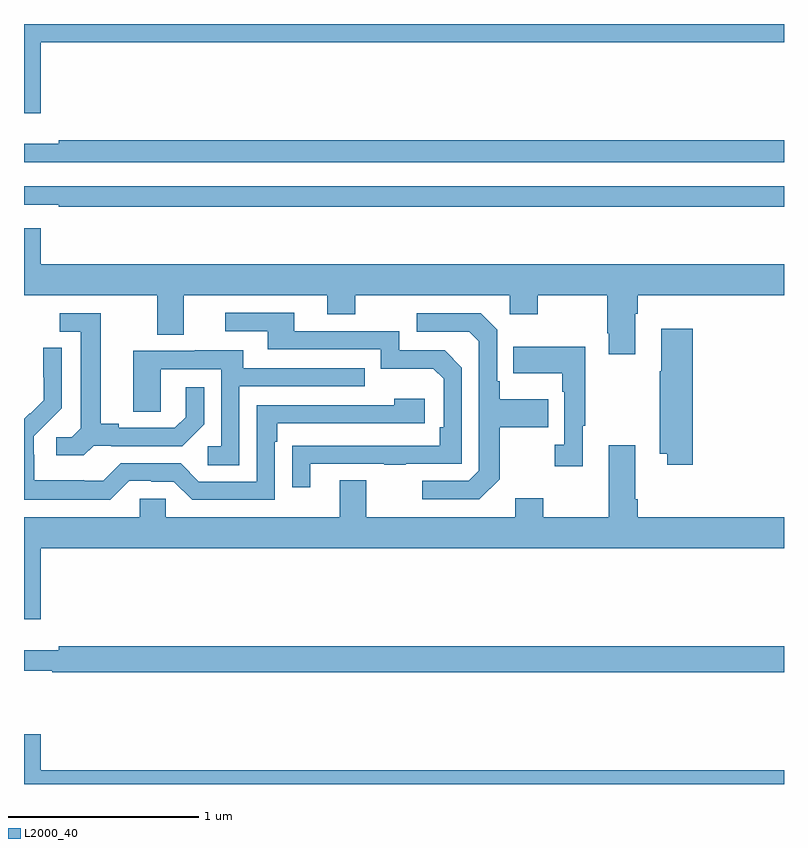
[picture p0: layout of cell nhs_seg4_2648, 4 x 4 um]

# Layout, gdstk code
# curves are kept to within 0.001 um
import gdstk
lib = gdstk.Library(unit=1e-6, precision=1e-09)
def P(c, l, *ps):  # polygons
    for p in ps: c.add(gdstk.Polygon(p, *l))
L2000_40 = (2000, 40)

nhs_seg4_2648 = lib.new_cell('nhs_seg4_2648')
P(nhs_seg4_2648, L2000_40, [(249.088,812.804),(253,812.804),(253,812.9),(249,812.9),(249,812.43),(249.088,812.43)],
  [(253,812.288),(249.184,812.288),(249.184,812.269),(249,812.269),(249,812.172),(253,812.172)],
  [(253,812.046),(249,812.046),(249,811.95),(249.184,811.95),(249.184,811.938),(253,811.938)],
  [(252.217,811.376),(252.23,811.376),(252.23,811.472),(253,811.472),(253,811.636),(249.088,811.636),(249.088,811.825),(249,811.825),(249,811.472),(249.701,811.472),(249.701,811.264),(249.841,811.264),(249.841,811.472),(250.595,811.472),(250.595,811.373),(250.743,811.373),(250.743,811.472),(251.556,811.472),(251.556,811.373),(251.703,811.373),(251.703,811.472),(252.07,811.472),(252.07,811.273),(252.077,811.273),(252.077,811.161),(252.217,811.161)],
  [(250.507,810.585),(250.897,810.585),(250.897,810.58),(251.009,810.58),(251.009,810.585),(251.304,810.585),(251.304,811.092),(251.214,811.182),(250.974,811.182),(250.974,811.284),(250.423,811.284),(250.423,811.38),(250.059,811.38),(250.059,811.284),(250.283,811.284),(250.283,811.188),(250.878,811.188),(250.878,811.085),(251.155,811.085),(251.208,811.032),(251.208,810.778),(251.188,810.778),(251.188,810.681),(250.411,810.68),(250.411,810.462),(250.507,810.462)],
  [(251.503,810.505),(251.503,810.778),(251.759,810.778),(251.759,810.925),(251.503,810.925),(251.503,811.021),(251.49,811.021),(251.49,811.29),(251.403,811.377),(251.067,811.377),(251.067,811.281),(251.343,811.281),(251.394,811.23),(251.394,810.549),(251.34,810.495),(251.097,810.495),(251.097,810.399),(251.397,810.399)],
  [(249.366,810.681),(249.46,810.681),(249.46,810.678),(249.832,810.678),(249.948,810.794),(249.948,810.988),(249.851,810.988),(249.851,810.831),(249.794,810.774),(249.499,810.774),(249.499,810.797),(249.403,810.797),(249.403,811.377),(249.189,811.377),(249.189,811.281),(249.299,811.281),(249.299,810.773),(249.252,810.726),(249.171,810.726),(249.171,810.629),(249.314,810.629)],
  [(252.521,811.297),(252.353,811.297),(252.353,811.073),(252.346,811.073),(252.346,810.638),(252.386,810.638),(252.386,810.579),(252.521,810.579)],
  [(251.941,810.785),(251.953,810.785),(251.953,811.201),(251.575,811.201),(251.575,811.061),(251.832,811.061),(251.832,810.965),(251.844,810.965),(251.844,810.686),(251.793,810.686),(251.793,810.573),(251.941,810.573)],
  [(249.555,810.495),(249.671,810.495),(249.671,810.492),(249.789,810.492),(249.885,810.396),(250.32,810.396),(250.32,810.701),(250.333,810.701),(250.333,810.798),(251.11,810.798),(251.11,810.928),(250.949,810.928),(250.949,810.894),(250.224,810.894),(250.224,810.492),(249.921,810.492),(249.825,810.588),(249.51,810.588),(249.417,810.495),(249.317,810.495),(249.317,810.499),(249.054,810.499),(249.054,810.633),(249.052,810.633),(249.052,810.73),(249.198,810.878),(249.198,811.196),(249.102,811.196),(249.102,811.042),(249.104,811.042),(249.104,810.92),(249.033,810.849),(249.03,810.852),(249,810.822),(249,810.395),(249.455,810.395)],
  [(250.134,810.993),(250.793,810.993),(250.793,811.089),(250.153,811.089),(250.153,811.183),(249.899,811.183),(249.899,811.179),(249.575,811.179),(249.575,810.859),(249.72,810.859),(249.72,811.083),(250.038,811.083),(250.038,810.678),(249.966,810.678),(249.966,810.577),(250.134,810.577)],
  [(249.088,810.14),(253,810.14),(253,810.304),(252.23,810.304),(252.23,810.4),(252.217,810.4),(252.217,810.682),(252.077,810.682),(252.077,810.304),(251.733,810.304),(251.733,810.403),(251.585,810.403),(251.585,810.304),(250.801,810.304),(250.801,810.499),(250.661,810.499),(250.661,810.304),(249.747,810.304),(249.747,810.402),(249.609,810.402),(249.609,810.304),(249,810.304),(249,809.766),(249.088,809.766)],
  [(253,809.624),(249.184,809.624),(249.184,809.605),(249,809.605),(249,809.496),(249.148,809.496),(249.148,809.488),(253,809.488)],
  [(253,808.972),(249.088,808.972),(249.088,809.161),(249,809.161),(249,808.9),(253,808.9)])

lib.write_gds('nhs_seg4_2648.gds')
